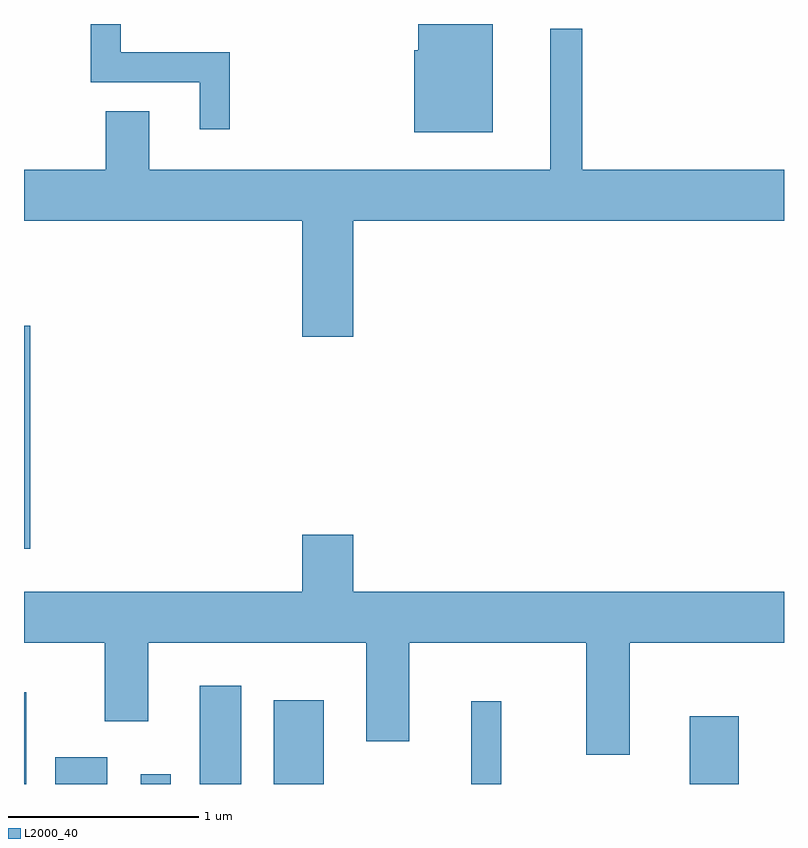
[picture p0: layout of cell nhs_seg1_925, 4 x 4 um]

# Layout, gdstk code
import gdstk
lib = gdstk.Library(unit=1e-6, precision=1e-09)
def R(c, l, rs):  # rectangles x0, y0, x1, y1
    for r in rs: c.add(gdstk.rectangle(r[:2], r[2:], *l))
def P(c, l, *ps):  # polygons
    for p in ps: c.add(gdstk.Polygon(p, *l))
L2000_40 = (2000, 40)

nhs_seg1_925 = lib.new_cell('nhs_seg1_925')
R(nhs_seg1_925, L2000_40, [(213.611,907.712,213.624,908.194), (213.776,907.712,214.049,907.854), (214.226,907.712,214.384,907.763), (214.536,907.712,214.754,908.229), (214.926,907.712,215.189,908.154), (215.966,907.712,216.124,908.148), (217.116,907.712,217.374,908.069), (213.611,908.951,213.644,910.124)])
P(nhs_seg1_925, L2000_40, [(214.694,911.564),(214.119,911.564),(214.119,911.712),(213.961,911.712),(213.961,911.406),(214.536,911.406),(214.536,911.158),(214.694,911.158)],
  [(216.079,911.712),(215.686,911.712),(215.686,911.574),(215.666,911.574),(215.666,911.141),(216.079,911.141)],
  [(215.344,910.676),(217.611,910.676),(217.611,910.944),(216.549,910.944),(216.549,911.688),(216.381,911.688),(216.381,910.944),(214.269,910.944),(214.269,911.254),(214.041,911.254),(214.041,910.944),(213.611,910.944),(213.611,910.676),(215.076,910.676),(215.076,910.066),(215.344,910.066)],
  [(216.799,908.456),(217.611,908.456),(217.611,908.724),(215.344,908.724),(215.344,909.024),(215.076,909.024),(215.076,908.724),(213.611,908.724),(213.611,908.456),(214.036,908.456),(214.036,908.041),(214.264,908.041),(214.264,908.456),(215.411,908.456),(215.411,907.936),(215.639,907.936),(215.639,908.456),(216.571,908.456),(216.571,907.866),(216.799,907.866)])

lib.write_gds('nhs_seg1_925.gds')
